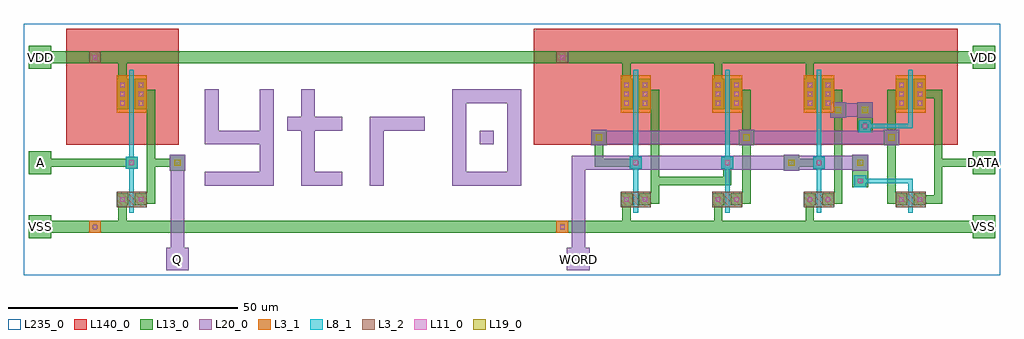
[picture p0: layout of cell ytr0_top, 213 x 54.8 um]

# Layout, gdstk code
import gdstk
lib = gdstk.Library(unit=1e-6, precision=1e-09)
def R(c, l, rs):  # rectangles x0, y0, x1, y1
    for r in rs: c.add(gdstk.rectangle(r[:2], r[2:], *l))
def A(c, l, x, y, w, h, nx, ny, dx, dy):  # array of equal rectangles
    R(c, l, [(x+i*dx, y+j*dy, x+i*dx+w, y+j*dy+h) for i in range(nx) for j in range(ny)])
def P(c, l, *ps):  # polygons
    for p in ps: c.add(gdstk.Polygon(p, *l))
L3_1 = (3, 1)
L3_2 = (3, 2)
L8_1 = (8, 1)
L11_0 = (11, 0)
L13_0 = (13, 0)
L19_0 = (19, 0)
L20_0 = (20, 0)
L140_0 = (140, 0)
L235_0 = (235, 0)

fet_p = lib.new_cell('fet_p')
R(fet_p, L3_1, [(-3.3,-4.1,3.3,4.1)])
A(fet_p, L11_0, -2.5, -2.5, 1, 1, 1, 3, 0, 2)
A(fet_p, L11_0, 1.5, -2.5, 1, 1, 1, 3, 0, 2)
R(fet_p, L13_0, [(-3.3,-3.3,-0.7,3.3), (0.7,-3.3,3.3,3.3)])
fet_p.add(gdstk.FlexPath([(0,-5.3),(0,5.3)], 1, ends="flush", simple_path=True, layer=8, datatype=1))  # L8_1

fet_n = lib.new_cell('fet_n')
R(fet_n, L3_2, [(-3.3,-1.7,3.3,1.7)])
R(fet_n, L11_0, [(-2.5,-0.5,-1.5,0.5), (1.5,-0.5,2.5,0.5)])
R(fet_n, L13_0, [(-3.3,-1.3,-0.7,1.3), (0.7,-1.3,3.3,1.3)])
fet_n.add(gdstk.FlexPath([(0,-2.9),(0,2.9)], 1, ends="flush", simple_path=True, layer=8, datatype=1))  # L8_1

cont_g = lib.new_cell('cont_g')
R(cont_g, L8_1, [(-1.3,-1.3,1.3,1.3)])
R(cont_g, L11_0, [(-0.5,-0.5,0.5,0.5)])
R(cont_g, L13_0, [(-1.3,-1.3,1.3,1.3)])

cont_n = lib.new_cell('cont_n')
R(cont_n, L3_2, [(-1.3,-1.3,1.3,1.3)])
R(cont_n, L11_0, [(-0.5,-0.5,0.5,0.5)])
R(cont_n, L13_0, [(-1.3,-1.3,1.3,1.3)])

cont_p = lib.new_cell('cont_p')
R(cont_p, L3_1, [(-1.3,-1.3,1.3,1.3)])
R(cont_p, L11_0, [(-0.5,-0.5,0.5,0.5)])
R(cont_p, L13_0, [(-1.3,-1.3,1.3,1.3)])

ytr0_inverter = lib.new_cell('ytr0_inverter')
R(ytr0_inverter, L140_0, [(-14.3,-11.1,10.3,14.3)])
ytr0_inverter.add(gdstk.FlexPath([(0,-15),(-10,-15)], 1.8, ends="flush", simple_path=True, layer=13, datatype=0))  # L13_0
ytr0_inverter.add(gdstk.FlexPath([(2,0),(4.2,0),(4.2,-23),(2,-23)], 1.8, ends="flush", simple_path=True, layer=13, datatype=0))  # L13_0
ytr0_inverter.add(gdstk.FlexPath([(4.2,-15),(10,-15)], 1.8, ends="flush", simple_path=True, layer=13, datatype=0))  # L13_0
ytr0_inverter.add(gdstk.FlexPath([(-2,0),(-2,8)], 1.8, ends="flush", simple_path=True, layer=13, datatype=0))  # L13_0
ytr0_inverter.add(gdstk.FlexPath([(-10,8),(8,8)], 2.6, ends="flush", simple_path=True, layer=13, datatype=0))  # L13_0
ytr0_inverter.add(gdstk.FlexPath([(-2,-23),(-2,-29)], 1.8, ends="flush", simple_path=True, layer=13, datatype=0))  # L13_0
ytr0_inverter.add(gdstk.FlexPath([(-10,-29),(8,-29)], 2.6, ends="flush", simple_path=True, layer=13, datatype=0))  # L13_0
ytr0_inverter.add(gdstk.FlexPath([(0,-5.3),(0,-20.1)], 1, ends="flush", simple_path=True, layer=8, datatype=1))  # L8_1
ytr0_inverter.add(gdstk.Reference(fet_p, (0,0)))
ytr0_inverter.add(gdstk.Reference(fet_n, (0,-23)))
ytr0_inverter.add(gdstk.Reference(cont_g, (0,-15)))
ytr0_inverter.add(gdstk.Reference(cont_n, (-8,8)))
ytr0_inverter.add(gdstk.Reference(cont_p, (-8,-29)))
ytr0_inverter.add(gdstk.Label('A', (-9.5,-15), layer=48, texttype=0))
ytr0_inverter.add(gdstk.Label('Q', (9.5,-15), layer=48, texttype=0))
ytr0_inverter.add(gdstk.Label('VDD', (-9.5,8), layer=48, texttype=0))
ytr0_inverter.add(gdstk.Label('VSS', (-9.5,-29), layer=48, texttype=0))

art_ytr0 = lib.new_cell('art_ytr0')
R(art_ytr0, L20_0, [(60,9,63,12)])
P(art_ytr0, L20_0, [(36,0),(36,15),(48,15),(48,12),(39,12),(39,0)],
  [(0,0),(0,3),(12,3),(12,9),(0,9),(0,21),(3,21),(3,12),(12,12),(12,21),(15,21),(15,0)],
  [(21,0),(21,12),(18,12),(18,15),(21,15),(21,21),(24,21),(24,15),(30,15),(30,12),(24,12),(24,3),(30,3),(30,0)],
  [(54,0),(54,18),(57,18),(57,3),(66,3),(66,18),(54,18),(54,21),(69,21),(69,0)])

ytr0_sram = lib.new_cell('ytr0_sram')
R(ytr0_sram, L13_0, [(47.3,-20.3,50.7,-13.3), (32.3,-16.7,35.7,-13.3), (47.3,-16.7,50.7,-13.3), (-9.7,-11.2,-6.3,-7.8), (22.5,-11.2,25.9,-7.8), (54.1,-11.2,57.5,-7.8), (48.3,-8.3,51.7,-1.8), (42.5,-5.2,45.9,-1.8), (48.3,-5.2,51.7,-1.8)])
R(ytr0_sram, L19_0, [(33.3,-15.7,34.7,-14.3), (48.3,-15.7,49.7,-14.3), (-8.7,-10.2,-7.3,-8.8), (23.5,-10.2,24.9,-8.8), (55.1,-10.2,56.5,-8.8), (43.5,-4.2,44.9,-2.8), (49.3,-4.2,50.7,-2.8)])
R(ytr0_sram, L20_0, [(32.3,-16.7,35.7,-13.3), (47.3,-16.7,50.7,-13.3), (-9.7,-11.2,-6.3,-7.8), (22.5,-11.2,25.9,-7.8), (54.1,-11.2,57.5,-7.8), (42.5,-5.2,45.9,-1.8), (48.3,-5.2,51.7,-1.8)])
R(ytr0_sram, L140_0, [(-22.3,-11.1,70.3,14.3)])
ytr0_sram.add(gdstk.FlexPath([(2,0),(4.2,0),(4.2,-23),(2,-23)], 1.8, ends="flush", simple_path=True, layer=13, datatype=0))  # L13_0
ytr0_sram.add(gdstk.FlexPath([(-2,0),(-2,8)], 1.8, ends="flush", simple_path=True, layer=13, datatype=0))  # L13_0
ytr0_sram.add(gdstk.FlexPath([(-2,-23),(-2,-29)], 1.8, ends="flush", simple_path=True, layer=13, datatype=0))  # L13_0
ytr0_sram.add(gdstk.FlexPath([(22,0),(24.2,0),(24.2,-23),(22,-23)], 1.8, ends="flush", simple_path=True, layer=13, datatype=0))  # L13_0
ytr0_sram.add(gdstk.FlexPath([(18,0),(18,8)], 1.8, ends="flush", simple_path=True, layer=13, datatype=0))  # L13_0
ytr0_sram.add(gdstk.FlexPath([(18,-23),(18,-29)], 1.8, ends="flush", simple_path=True, layer=13, datatype=0))  # L13_0
ytr0_sram.add(gdstk.FlexPath([(42,0),(44.2,0),(44.2,-23),(42,-23)], 1.8, ends="flush", simple_path=True, layer=13, datatype=0))  # L13_0
ytr0_sram.add(gdstk.FlexPath([(38,0),(38,8)], 1.8, ends="flush", simple_path=True, layer=13, datatype=0))  # L13_0
ytr0_sram.add(gdstk.FlexPath([(38,-23),(38,-29)], 1.8, ends="flush", simple_path=True, layer=13, datatype=0))  # L13_0
ytr0_sram.add(gdstk.FlexPath([(58,0),(55.8,0),(55.8,-23),(58,-23)], 1.8, ends="flush", simple_path=True, layer=13, datatype=0))  # L13_0
ytr0_sram.add(gdstk.FlexPath([(62,0),(66,0),(66,-23),(62,-23)], 1.8, ends="flush", simple_path=True, layer=13, datatype=0))  # L13_0
ytr0_sram.add(gdstk.FlexPath([(66,-15),(72,-15)], 1.8, ends="flush", simple_path=True, layer=13, datatype=0))  # L13_0
ytr0_sram.add(gdstk.FlexPath([(4.2,-19),(20,-19),(20,-15)], 1.8, ends="flush", simple_path=True, layer=13, datatype=0))  # L13_0
ytr0_sram.add(gdstk.FlexPath([(-8,-9.5),(-8,-15),(0,-15)], 1.8, ends="flush", simple_path=True, layer=13, datatype=0))  # L13_0
ytr0_sram.add(gdstk.FlexPath([(40,-15),(34,-15)], 1.8, ends="flush", simple_path=True, layer=13, datatype=0))  # L13_0
ytr0_sram.add(gdstk.FlexPath([(-18,8),(72,8)], 2.6, ends="flush", simple_path=True, layer=13, datatype=0))  # L13_0
ytr0_sram.add(gdstk.FlexPath([(-18,-29),(72,-29)], 2.6, ends="flush", simple_path=True, layer=13, datatype=0))  # L13_0
ytr0_sram.add(gdstk.FlexPath([(-8,-9.5),(55.8,-9.5)], 3, ends="flush", simple_path=True, layer=20, datatype=0))  # L20_0
ytr0_sram.add(gdstk.FlexPath([(-14,-15),(49,-15)], 3, ends="flush", simple_path=True, layer=20, datatype=0))  # L20_0
ytr0_sram.add(gdstk.FlexPath([(44.2,-3.5),(50,-3.5)], 3, ends="flush", simple_path=True, layer=20, datatype=0))  # L20_0
ytr0_sram.add(gdstk.FlexPath([(0,-5.3),(0,-20.1)], 1, ends="flush", simple_path=True, layer=8, datatype=1))  # L8_1
ytr0_sram.add(gdstk.FlexPath([(20,-5.3),(20,-20.1)], 1, ends="flush", simple_path=True, layer=8, datatype=1))  # L8_1
ytr0_sram.add(gdstk.FlexPath([(40,-5.3),(40,-20.1)], 1, ends="flush", simple_path=True, layer=8, datatype=1))  # L8_1
ytr0_sram.add(gdstk.FlexPath([(60,-5.3),(60,-7),(50,-7)], 1, ends="flush", simple_path=True, layer=8, datatype=1))  # L8_1
ytr0_sram.add(gdstk.FlexPath([(60,-20.1),(60,-19),(49,-19)], 1, ends="flush", simple_path=True, layer=8, datatype=1))  # L8_1
ytr0_sram.add(gdstk.Reference(fet_p, (0,0)))
ytr0_sram.add(gdstk.Reference(fet_n, (0,-23)))
ytr0_sram.add(gdstk.Reference(cont_g, (0,-15)))
ytr0_sram.add(gdstk.Reference(fet_p, (20,0)))
ytr0_sram.add(gdstk.Reference(fet_n, (20,-23)))
ytr0_sram.add(gdstk.Reference(cont_g, (20,-15)))
ytr0_sram.add(gdstk.Reference(fet_p, (40,0)))
ytr0_sram.add(gdstk.Reference(fet_n, (40,-23)))
ytr0_sram.add(gdstk.Reference(cont_g, (40,-15)))
ytr0_sram.add(gdstk.Reference(fet_p, (60,0)))
ytr0_sram.add(gdstk.Reference(fet_n, (60,-23)))
ytr0_sram.add(gdstk.Reference(cont_g, (50,-7)))
ytr0_sram.add(gdstk.Reference(cont_g, (49,-19)))
ytr0_sram.add(gdstk.Reference(cont_n, (-16,8)))
ytr0_sram.add(gdstk.Reference(cont_p, (-16,-29)))
ytr0_sram.add(gdstk.Label('DATA', (71.5,-15), layer=48, texttype=0))
ytr0_sram.add(gdstk.Label('VDD', (-17,8), layer=48, texttype=0))
ytr0_sram.add(gdstk.Label('VSS', (-17,-29), layer=48, texttype=0))
ytr0_sram.add(gdstk.Label('WORD', (-13.5,-15), layer=49, texttype=0))

ytr0_top = lib.new_cell('ytr0_top')
R(ytr0_top, L13_0, [(-22.5,-31.5,-17.5,-26.5), (183.5,-31.5,188.5,-26.5), (-22.5,-17.5,-17.5,-12.5), (183.5,-17.5,188.5,-12.5), (8.3,-16.7,11.7,-13.3), (-22.5,5.5,-17.5,10.5), (183.5,5.5,188.5,10.5)])
R(ytr0_top, L19_0, [(9.3,-15.7,10.7,-14.3)])
R(ytr0_top, L20_0, [(7.5,-38.5,12.5,-33.5), (95,-38.5,100,-33.5), (8.3,-16.7,11.7,-13.3)])
R(ytr0_top, L235_0, [(-23.5,-39.5,189.5,15.3)])
ytr0_top.add(gdstk.FlexPath([(181.5,-15),(186,-15)], 1.8, ends="flush", simple_path=True, layer=13, datatype=0))  # L13_0
ytr0_top.add(gdstk.FlexPath([(-10,-15),(-20,-15)], 1.8, ends="flush", simple_path=True, layer=13, datatype=0))  # L13_0
ytr0_top.add(gdstk.FlexPath([(-20,8),(186,8)], 2.6, ends="flush", simple_path=True, layer=13, datatype=0))  # L13_0
ytr0_top.add(gdstk.FlexPath([(-20,-29),(186,-29)], 2.6, ends="flush", simple_path=True, layer=13, datatype=0))  # L13_0
ytr0_top.add(gdstk.FlexPath([(97.5,-15),(97.5,-36)], 3, ends="flush", simple_path=True, layer=20, datatype=0))  # L20_0
ytr0_top.add(gdstk.FlexPath([(10,-15),(10,-36)], 3, ends="flush", simple_path=True, layer=20, datatype=0))  # L20_0
ytr0_top.add(gdstk.Reference(ytr0_inverter, (0,0)))
ytr0_top.add(gdstk.Reference(art_ytr0, (16,-20)))
ytr0_top.add(gdstk.Reference(ytr0_sram, (110,0)))
ytr0_top.add(gdstk.Label('DATA', (186,-15), layer=48, texttype=0))
ytr0_top.add(gdstk.Label('A', (-20,-15), layer=48, texttype=0))
ytr0_top.add(gdstk.Label('VDD', (-20,8), layer=48, texttype=0))
ytr0_top.add(gdstk.Label('VDD', (186,8), layer=48, texttype=0))
ytr0_top.add(gdstk.Label('VSS', (-20,-29), layer=48, texttype=0))
ytr0_top.add(gdstk.Label('VSS', (186,-29), layer=48, texttype=0))
ytr0_top.add(gdstk.Label('WORD', (97.5,-36), layer=49, texttype=0))
ytr0_top.add(gdstk.Label('Q', (10,-36), layer=49, texttype=0))

lib.write_gds('ytr0_top.gds')
